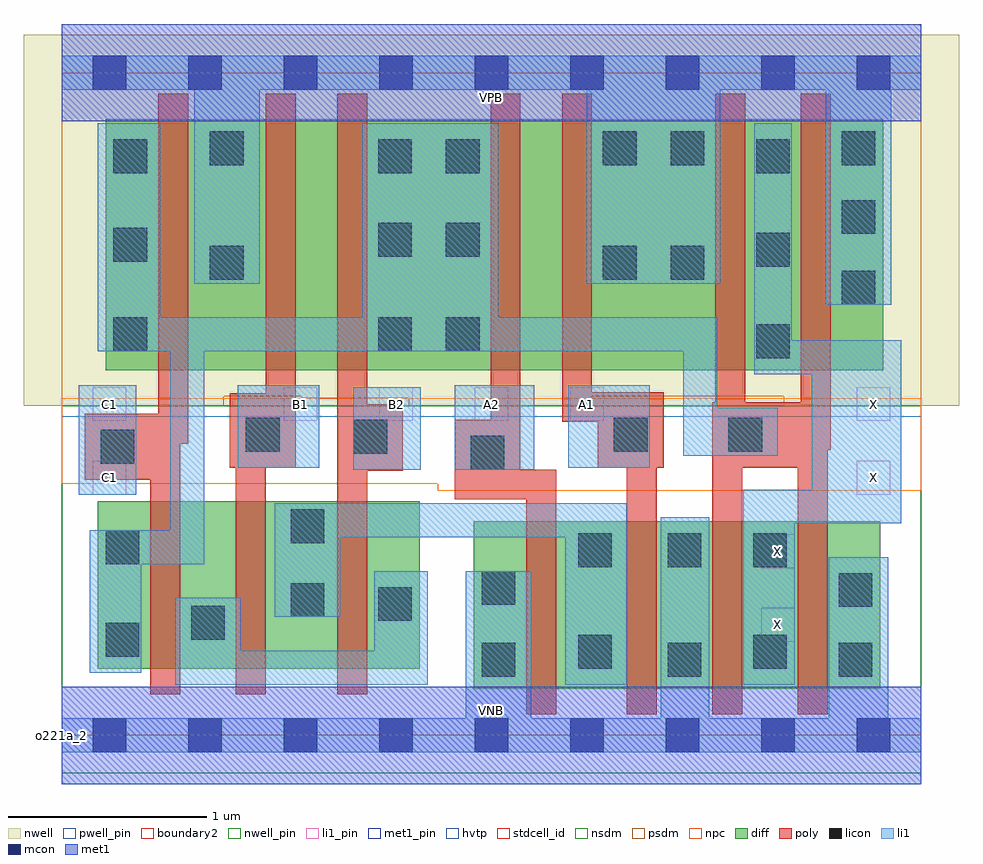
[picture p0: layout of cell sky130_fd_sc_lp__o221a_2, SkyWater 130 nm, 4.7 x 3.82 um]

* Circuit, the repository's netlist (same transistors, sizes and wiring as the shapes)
* Copyright 2020 The SkyWater PDK Authors
*
* Licensed under the Apache License, Version 2.0 (the "License");
* you may not use this file except in compliance with the License.
* You may obtain a copy of the License at
*
*     https://www.apache.org/licenses/LICENSE-2.0
*
* Unless required by applicable law or agreed to in writing, software
* distributed under the License is distributed on an "AS IS" BASIS,
* WITHOUT WARRANTIES OR CONDITIONS OF ANY KIND, either express or implied.
* See the License for the specific language governing permissions and
* limitations under the License.
*
* SPDX-License-Identifier: Apache-2.0

.SUBCKT sky130_fd_sc_lp__o221a_2 A1 A2 B1 B2 C1 VGND VNB VPB VPWR X
*.PININFO A1:I A2:I B1:I B2:I C1:I VGND:I VNB:I VPB:I VPWR:I X:O
MMPA0 VPWR A1 sndA1 VPB sky130_fd_pr__pfet_01v8_hvt m=1 w=1.26U l=0.15U mult=1
+ sa=0.265 sb=0.265 sd=0.28 area=0.063 perim=1.14
MMPA1 sndA1 A2 y VPB sky130_fd_pr__pfet_01v8_hvt m=1 w=1.26U l=0.15U mult=1 sa=0.265
+ sb=0.265 sd=0.28 area=0.063 perim=1.14
MMPB0 VPWR B1 sndB1 VPB sky130_fd_pr__pfet_01v8_hvt m=1 w=1.26U l=0.15U mult=1
+ sa=0.265 sb=0.265 sd=0.28 area=0.063 perim=1.14
MMPB1 sndB1 B2 y VPB sky130_fd_pr__pfet_01v8_hvt m=1 w=1.26U l=0.15U mult=1 sa=0.265
+ sb=0.265 sd=0.28 area=0.063 perim=1.14
MMPC0 VPWR C1 y VPB sky130_fd_pr__pfet_01v8_hvt m=1 w=1.26U l=0.15U mult=1 sa=0.265
+ sb=0.265 sd=0.28 area=0.063 perim=1.14
MMIPX X y VPWR VPB sky130_fd_pr__pfet_01v8_hvt m=2 w=1.26U l=0.15U mult=1 sa=0.265
+ sb=0.265 sd=0.28 area=0.063 perim=1.14
MMNA0 pndA A1 VGND VNB sky130_fd_pr__nfet_01v8 m=1 w=0.84U l=0.15U mult=1 sa=0.265
+ sb=0.265 sd=0.28 area=0.063 perim=1.14
MMNA1 pndA A2 VGND VNB sky130_fd_pr__nfet_01v8 m=1 w=0.84U l=0.15U mult=1 sa=0.265
+ sb=0.265 sd=0.28 area=0.063 perim=1.14
MMNB0 pndB B1 pndA VNB sky130_fd_pr__nfet_01v8 m=1 w=0.84U l=0.15U mult=1 sa=0.265
+ sb=0.265 sd=0.28 area=0.063 perim=1.14
MMNB1 pndB B2 pndA VNB sky130_fd_pr__nfet_01v8 m=1 w=0.84U l=0.15U mult=1 sa=0.265
+ sb=0.265 sd=0.28 area=0.063 perim=1.14
MMNC0 y C1 pndB VNB sky130_fd_pr__nfet_01v8 m=1 w=0.84U l=0.15U mult=1 sa=0.265
+ sb=0.265 sd=0.28 area=0.063 perim=1.14
MMINX X y VGND VNB sky130_fd_pr__nfet_01v8 m=2 w=0.84U l=0.15U mult=1 sa=0.265
+ sb=0.265 sd=0.28 area=0.063 perim=1.14
.ENDS sky130_fd_sc_lp__o221a_2

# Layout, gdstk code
import gdstk
lib = gdstk.Library(unit=1e-6, precision=1e-09)
def R(c, l, rs):  # rectangles x0, y0, x1, y1
    for r in rs: c.add(gdstk.rectangle(r[:2], r[2:], *l))
def A(c, l, x, y, w, h, nx, ny, dx, dy):  # array of equal rectangles
    R(c, l, [(x+i*dx, y+j*dy, x+i*dx+w, y+j*dy+h) for i in range(nx) for j in range(ny)])
def P(c, l, *ps):  # polygons
    for p in ps: c.add(gdstk.Polygon(p, *l))
nwell_pin = (64, 16)
nwell = (64, 20)
diff = (65, 20)
poly = (66, 20)
licon = (66, 44)
li1_pin = (67, 16)
li1 = (67, 20)
mcon = (67, 44)
met1_pin = (68, 16)
met1 = (68, 20)
hvtp = (78, 44)
stdcell_id = (81, 4)
nsdm = (93, 44)
psdm = (94, 20)
npc = (95, 20)
pwell_pin = (122, 16)
boundary2 = (236, 0)

sky130_fd_sc_lp__o221a_2 = lib.new_cell('sky130_fd_sc_lp__o221a_2')
R(sky130_fd_sc_lp__o221a_2, nwell_pin, [(0,3.085,4.32,3.33)])
R(sky130_fd_sc_lp__o221a_2, nwell, [(-0.19,1.655,4.51,3.52)])
R(sky130_fd_sc_lp__o221a_2, diff, [(2.07,0.235,4.115,1.075), (0.18,0.335,1.8,1.175), (0.22,1.835,4.13,3.095)])
P(sky130_fd_sc_lp__o221a_2, poly, [(0.635,3.225),(0.485,3.225),(0.485,1.615),(0.115,1.615),(0.115,1.285),(0.445,1.285),(0.445,0.205),(0.595,0.205),(0.595,1.465),(0.635,1.465)],
  [(1.175,3.225),(1.025,3.225),(1.025,1.72),(0.845,1.72),(0.845,1.345),(0.875,1.345),(0.875,0.205),(1.025,0.205),(1.025,1.345),(1.175,1.345)],
  [(1.715,1.665),(1.535,1.665),(1.535,3.225),(1.385,3.225),(1.385,0.205),(1.535,0.205),(1.535,1.33),(1.715,1.33)],
  [(2.485,1.335),(2.305,1.335),(2.305,3.225),(2.155,3.225),(2.155,1.585),(1.975,1.585),(1.975,1.185),(2.335,1.185),(2.335,0.105),(2.485,0.105)],
  [(3.025,1.725),(2.665,1.725),(2.665,3.225),(2.515,3.225),(2.515,1.575),(2.695,1.575),(2.695,1.345),(2.84,1.345),(2.84,0.105),(2.99,0.105),(2.99,1.345),(3.025,1.345)],
  [(3.865,3.225),(3.715,3.225),(3.715,1.675),(3.435,1.675),(3.435,3.225),(3.285,3.225),(3.285,1.675),(3.27,1.675),(3.27,0.105),(3.42,0.105),(3.42,1.345),(3.7,1.345),(3.7,0.105),(3.85,0.105),(3.85,1.435),(3.865,1.435)])
R(sky130_fd_sc_lp__o221a_2, licon, [(2.11,0.295,2.28,0.465), (3.045,0.295,3.215,0.465), (3.905,0.295,4.075,0.465), (2.595,0.335,2.765,0.505), (3.475,0.335,3.645,0.505), (0.22,0.395,0.39,0.565), (0.65,0.48,0.82,0.65), (1.59,0.575,1.76,0.745), (1.15,0.595,1.32,0.765), (3.905,0.645,4.075,0.815), (2.11,0.655,2.28,0.825), (2.595,0.845,2.765,1.015), (3.045,0.845,3.215,1.015), (3.475,0.845,3.645,1.015), (0.22,0.86,0.39,1.03), (1.15,0.965,1.32,1.135), (2.055,1.335,2.225,1.505), (0.195,1.365,0.365,1.535), (1.465,1.415,1.635,1.585), (0.925,1.425,1.095,1.595), (2.775,1.425,2.945,1.595), (3.35,1.425,3.52,1.595), (3.49,1.895,3.66,2.065), (0.26,1.93,0.43,2.1), (1.59,1.93,1.76,2.1), (1.93,1.93,2.1,2.1), (3.92,2.165,4.09,2.335), (0.745,2.29,0.915,2.46), (2.72,2.29,2.89,2.46), (3.06,2.29,3.23,2.46), (3.49,2.355,3.66,2.525), (0.26,2.38,0.43,2.55), (1.59,2.405,1.76,2.575), (1.93,2.405,2.1,2.575), (3.92,2.52,4.09,2.69), (0.26,2.825,0.43,2.995), (1.59,2.825,1.76,2.995), (1.93,2.825,2.1,2.995), (3.49,2.825,3.66,2.995), (0.745,2.865,0.915,3.035), (2.72,2.865,2.89,3.035), (3.06,2.865,3.23,3.035), (3.92,2.865,4.09,3.035)])
A(sky130_fd_sc_lp__o221a_2, li1_pin, 1.115, 1.58, 0.17, 0.17, 4, 1, 0.48, 0)
R(sky130_fd_sc_lp__o221a_2, li1_pin, [(3.515,0.47,3.685,0.64), (3.515,0.84,3.685,1.01), (0.155,1.21,0.325,1.38), (3.995,1.21,4.165,1.38), (0.155,1.58,0.325,1.75), (3.995,1.58,4.165,1.75)])
R(sky130_fd_sc_lp__o221a_2, li1, [(0.085,1.21,0.375,1.76), (1.465,1.335,1.805,1.75), (1.975,1.335,2.375,1.76), (0.885,1.345,1.295,1.76), (2.545,1.345,2.955,1.76)])
P(sky130_fd_sc_lp__o221a_2, li1, [(3.84,2.165),(3.84,3.245),(3.31,3.245),(3.31,2.27),(2.64,2.27),(2.64,3.245),(0.995,3.245),(0.995,2.27),(0.665,2.27),(0.665,3.245),(0,3.245),(0,3.415),(4.32,3.415),(4.32,3.245),(4.17,3.245),(4.17,2.165)],
  [(3.01,0.085),(3.01,1.095),(3.255,1.095),(3.255,0.085),(3.855,0.085),(3.855,0.895),(4.155,0.895),(4.155,0.085),(4.32,0.085),(4.32,-0.085),(0,-0.085),(0,0.085),(2.03,0.085),(2.03,0.825),(2.36,0.825),(2.36,0.085)],
  [(3.425,0.255),(3.425,1.235),(3.77,1.235),(3.77,1.815),(3.48,1.815),(3.48,3.075),(3.67,3.075),(3.67,1.985),(4.22,1.985),(4.22,1.065),(3.685,1.065),(3.685,0.255)],
  [(1.51,2.1),(1.51,3.075),(2.195,3.075),(2.195,2.1),(3.295,2.1),(3.295,1.645),(3.6,1.645),(3.6,1.405),(3.125,1.405),(3.125,1.93),(0.715,1.93),(0.715,0.86),(0.4,0.86),(0.4,0.315),(0.14,0.315),(0.14,1.03),(0.545,1.03),(0.545,1.93),(0.18,1.93),(0.18,3.075),(0.495,3.075),(0.495,2.1)],
  [(2.53,0.995),(1.4,0.995),(1.4,0.595),(1.07,0.595),(1.07,1.165),(2.84,1.165),(2.84,0.255),(2.53,0.255)],
  [(0.9,0.425),(1.57,0.425),(1.57,0.825),(1.84,0.825),(1.84,0.255),(0.57,0.255),(0.57,0.69),(0.9,0.69)])
A(sky130_fd_sc_lp__o221a_2, mcon, 0.155, -0.085, 0.17, 0.17, 9, 2, 0.48, 3.33)
R(sky130_fd_sc_lp__o221a_2, met1_pin, [(0,0,4.32,0.245), (0,3.085,4.32,3.33)])
R(sky130_fd_sc_lp__o221a_2, met1, [(0,-0.245,4.32,0.245), (0,3.085,4.32,3.575)])
R(sky130_fd_sc_lp__o221a_2, hvtp, [(0,1.6,4.32,3.33)])
R(sky130_fd_sc_lp__o221a_2, stdcell_id, [(0,0,4.32,3.33)])
R(sky130_fd_sc_lp__o221a_2, nsdm, [(0,-0.19,4.32,1.655)])
P(sky130_fd_sc_lp__o221a_2, psdm, [(4.32,3.52),(0,3.52),(0,1.655),(0.815,1.655),(0.815,1.705),(1.205,1.705),(1.205,1.695),(1.745,1.695),(1.745,1.655),(2.665,1.655),(2.665,1.705),(3.63,1.705),(3.63,1.655),(4.32,1.655)])
P(sky130_fd_sc_lp__o221a_2, npc, [(4.32,1.695),(0,1.695),(0,1.265),(1.89,1.265),(1.89,1.23),(4.32,1.23)])
R(sky130_fd_sc_lp__o221a_2, pwell_pin, [(0,0,4.32,0.245)])
R(sky130_fd_sc_lp__o221a_2, boundary2, [(0,0,4.32,3.33)])
sky130_fd_sc_lp__o221a_2.add(gdstk.Label('VNB', (2.16,0.123), layer=64, texttype=59))
sky130_fd_sc_lp__o221a_2.add(gdstk.Label('VPB', (2.16,3.208), layer=64, texttype=5))
sky130_fd_sc_lp__o221a_2.add(gdstk.Label('o221a_2', (0,0), layer=83, texttype=44))
sky130_fd_sc_lp__o221a_2.add(gdstk.Label('VPWR', (2.16,3.208), layer=68, texttype=5))
sky130_fd_sc_lp__o221a_2.add(gdstk.Label('VGND', (2.16,0.123), layer=68, texttype=5))
sky130_fd_sc_lp__o221a_2.add(gdstk.Label('X', (3.6,0.555), layer=67, texttype=5))
sky130_fd_sc_lp__o221a_2.add(gdstk.Label('X', (3.6,0.925), layer=67, texttype=5))
sky130_fd_sc_lp__o221a_2.add(gdstk.Label('A1', (2.64,1.665), layer=67, texttype=5))
sky130_fd_sc_lp__o221a_2.add(gdstk.Label('B1', (1.2,1.665), layer=67, texttype=5))
sky130_fd_sc_lp__o221a_2.add(gdstk.Label('B2', (1.68,1.665), layer=67, texttype=5))
sky130_fd_sc_lp__o221a_2.add(gdstk.Label('C1', (0.24,1.295), layer=67, texttype=5))
sky130_fd_sc_lp__o221a_2.add(gdstk.Label('C1', (0.24,1.665), layer=67, texttype=5))
sky130_fd_sc_lp__o221a_2.add(gdstk.Label('A2', (2.16,1.665), layer=67, texttype=5))
sky130_fd_sc_lp__o221a_2.add(gdstk.Label('X', (4.08,1.665), layer=67, texttype=5))
sky130_fd_sc_lp__o221a_2.add(gdstk.Label('X', (4.08,1.295), layer=67, texttype=5))

lib.write_gds('sky130_fd_sc_lp__o221a_2.gds')
